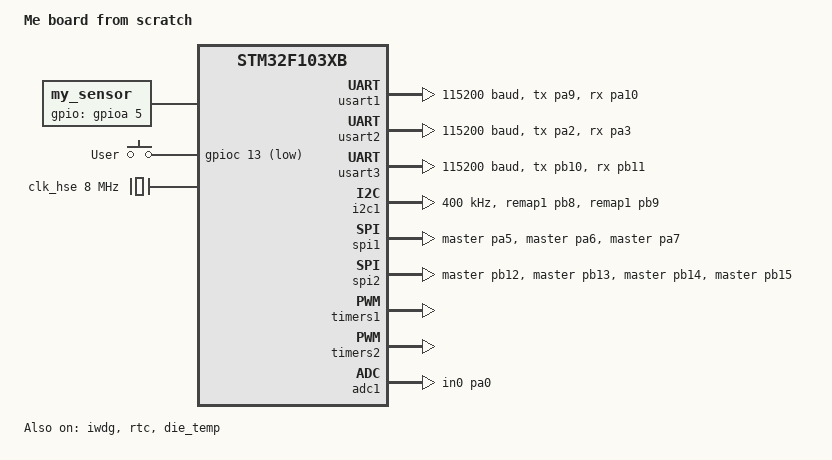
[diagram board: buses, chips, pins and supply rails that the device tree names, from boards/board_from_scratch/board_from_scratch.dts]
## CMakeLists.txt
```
cmake_minimum_required(VERSION 3.20.0)

list(APPEND BOARD_ROOT ${CMAKE_CURRENT_SOURCE_DIR})

list(APPEND EXTRA_ZEPHYR_MODULES ${CMAKE_CURRENT_SOURCE_DIR}/../my_driver_module)

find_package(Zephyr REQUIRED)
project(my_zephyr_app)

target_sources(app PRIVATE src/main.cpp)
```

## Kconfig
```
menu "Configuracion de la aplicación"

    menuconfig LED_SUBSYSTEM
        bool "LED Subsystem"
        default y

    if LED_SUBSYSTEM
        choice
            prompt "LED blink sleep time"
            default BLINK_SLEEP_TIME_1000_MS

            config BLINK_SLEEP_TIME_250_MS
                bool "250 ms (very fast)"

            config BLINK_SLEEP_TIME_500_MS
                bool "500 ms (fast)"

            config BLINK_SLEEP_TIME_1000_MS
                bool "1s (medium)"
            
            config BLINK_SLEEP_TIME_2000_MS
                bool "2s (slow)"
        endchoice

        config LED_BLINK_SLEEP_TIME
            int
            default 250 if BLINK_SLEEP_TIME_250_MS
            default 500 if BLINK_SLEEP_TIME_500_MS
            default 1000 if BLINK_SLEEP_TIME_1000_MS
            default 2000 if BLINK_SLEEP_TIME_2000_MS
        
        menuconfig ADVANCED_LED_SETTINGS
            bool "Advanced LED settings"
            default n

        if ADVANCED_LED_SETTINGS
            config LED_BRIGHTNESS
                int "LED brightness (0-100)"
                range 0 100
                default 100

            config LED_FADE_DURATION
                int "LED fade duration (ms)"
                range 0 5000
                default 500

            config LED_EXPERT_SETTINGS
                bool
                default y

            menu "Expert settings"
                visible if LED_EXPERT_SETTINGS

                config LED_DEBUG
                    bool "Enable LED debugging"
                    default n

                config LED_CUSTOM_BLINK_PATTERN
                    bool "Custom blink pattern"
                    default n
            endmenu #Expert settings
        endif #ADVANCED_LED_SETTINGS
    endif #LED_SUBSYSTEM
endmenu #Configuracion de la aplicación


menu "Configuracion de Zephyr"
    source "Kconfig.zephyr"
endmenu
```

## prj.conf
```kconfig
CONFIG_GPIO=y
CONFIG_LOG=y
CONFIG_SENSOR=y
CONFIG_MY_SENSOR=y
CONFIG_SHELL=y
```

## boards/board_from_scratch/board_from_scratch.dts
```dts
/dts-v1/;
#include <st/f1/stm32f103Xb.dtsi>
#include <st/f1/stm32f103r(8-b)tx-pinctrl.dtsi>
#include <zephyr/dt-bindings/input/input-event-codes.h>

/ {
	model = "Me board from scratch";
	compatible = "me,board_from_scratch";

	chosen {
		zephyr,console = &usart2;
		zephyr,shell-uart = &usart2;
		zephyr,sram = &sram0;
		zephyr,flash = &flash0;
	};

	sensor: led_sensor {
		compatible = "zephyr,my_sensor";
		gpios = <&gpioa 5 GPIO_ACTIVE_HIGH>;
	};

	gpio_keys {
		compatible = "gpio-keys";

		user_button: button {
			label = "User";
			gpios = <&gpioc 13 GPIO_ACTIVE_LOW>;
			zephyr,code = <INPUT_KEY_0>;
		};
	};

	aliases {
		sw0 = &user_button;
		watchdog0 = &iwdg;
		die-temp0 = &die_temp;
	};
};

&clk_lsi {
	status = "okay";
};

&clk_hse {
	hse-bypass;
	clock-frequency = <DT_FREQ_M(8)>; /* STLink 8MHz clock */
	status = "okay";
};

&pll {
	mul = <9>;
	clocks = <&clk_hse>;
	status = "okay";
};

&rcc {
	clocks = <&pll>;
	clock-frequency = <DT_FREQ_M(72)>;
	ahb-prescaler = <1>;
	apb1-prescaler = <2>;
	apb2-prescaler = <1>;
	adc-prescaler = <2>;
};

&usart1 {
	pinctrl-0 = <&usart1_tx_pa9 &usart1_rx_pa10>;
	pinctrl-names = "default";
	current-speed = <115200>;
	status = "okay";
};

&usart2 {
	pinctrl-0 = <&usart2_tx_pa2 &usart2_rx_pa3>;
	pinctrl-names = "default";
	current-speed = <115200>;
	status = "okay";
};

&usart3 {
	pinctrl-0 = <&usart3_tx_pb10 &usart3_rx_pb11>;
	pinctrl-names = "default";
	current-speed = <115200>;
};

&i2c1 {
	pinctrl-0 = <&i2c1_scl_remap1_pb8 &i2c1_sda_remap1_pb9>;
	pinctrl-names = "default";
	status = "okay";
	clock-frequency = <I2C_BITRATE_FAST>;
};

&spi1 {
	pinctrl-0 = <&spi1_sck_master_pa5 &spi1_miso_master_pa6 &spi1_mosi_master_pa7>;
	pinctrl-names = "default";
	cs-gpios = <&gpiob 6 (GPIO_ACTIVE_LOW | GPIO_PULL_UP)>;
	status = "okay";
};

&spi2 {
	pinctrl-0 = <&spi2_nss_master_pb12 &spi2_sck_master_pb13
		     &spi2_miso_master_pb14 &spi2_mosi_master_pb15>;
	pinctrl-names = "default";
	status = "okay";
};

&timers1 {
	st,prescaler = <10000>;
	status = "okay";

	pwm1: pwm {
		status = "okay";
		pinctrl-0 = <&tim1_ch1_pwm_out_pa8>;
		pinctrl-names = "default";
	};
};

&timers2 {
	st,prescaler = <255>;
	status = "okay";

	pwm2: pwm {
		status = "okay";
		pinctrl-0 = <&tim2_ch2_pwm_in_pa1>;
		pinctrl-names = "default";
	};
};

&iwdg {
	status = "okay";
};

&rtc {
	clocks = <&rcc STM32_CLOCK_BUS_APB1 0x10000000>,
		 <&rcc STM32_SRC_LSI RTC_SEL(2)>;
	status = "okay";
};

&adc1 {
	pinctrl-0 = <&adc1_in0_pa0>;
	pinctrl-names = "default";
	status = "okay";
};

&die_temp {
	status = "okay";
};

&dma1 {
	status = "okay";
};

&flash0 {
	partitions {
		compatible = "fixed-partitions";
		#address-cells = <1>;
		#size-cells = <1>;

		/* Set 2KB of storage at the end of 128KB flash */
		storage_partition: partition@1f800 {
			label = "storage";
			reg = <0x0001f800 DT_SIZE_K(2)>;
		};
	};
};
```

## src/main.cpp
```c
#include <zephyr/drivers/sensor.h>
#include <zephyr/kernel.h>
#include <zephyr/logging/log.h>

// Header file de mi driver
#include <my_sensor/my_sensor.h>

#define SLEEP_TIME_MS CONFIG_APP_HEARTBEAT_PERIOD_MS

static const struct device *led_sensor = DEVICE_DT_GET_ANY(zephyr_my_sensor);

LOG_MODULE_REGISTER(main, LOG_LEVEL_INF);

int main(void)
{
    bool led_state = true;
    struct sensor_value dummy;
    int count = 0;

    if (!device_is_ready(led_sensor)) {
        return 0;
    }

    while (1) {

        if(led_state) {
            // Apaga el LED
            sensor_channel_get(led_sensor, SENSOR_CHAN_ALL, &dummy);
            count++;
            my_sensor_set_count(led_sensor, count);
        }
        else {
            // Enciende el LED
            sensor_sample_fetch(led_sensor);
        }
        led_state = !led_state;        
        LOG_INF("LED state: %s, count: %d", led_state ? "ON" : "OFF", count);
        k_msleep(SLEEP_TIME_MS);
    }
    return 0;
}
```
